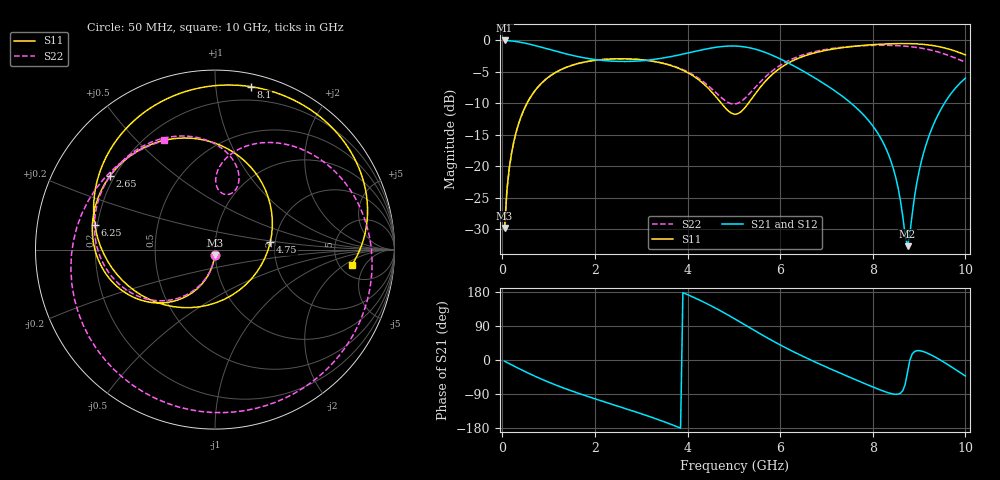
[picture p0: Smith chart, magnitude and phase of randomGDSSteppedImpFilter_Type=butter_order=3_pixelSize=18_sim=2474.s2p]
! freq	dB(S11)	phase(S11)	dB(S12)	phase(S12)
!  dB(S21)	phase(S21)	dB(S22)	phase(S22)
!S-par simulation data
#  GHz  S  DB  R 50
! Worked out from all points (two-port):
!   200 points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, 50 MHz to 10 GHz, reference 50 ohm
!   highest |S21| = -0.01 dB at 50 MHz (marker M1); lowest = -32.6 dB at 8.75 GHz (marker M2)
!   |S21| within 3 dB of the highest: start of sweep to 1.977 GHz; 3.28 GHz to 6.022 GHz (2.742 GHz wide, 59 % of centre)
!   lowest |S11| = -29.8 dB at 50 MHz (marker M3), VSWR 1.07, Z = 49.7 - j3.23 ohm
!   |S11| at or under -10 dB: start of sweep to 532.8 MHz; 4.732 GHz to 5.311 GHz (579.7 MHz wide, 11.5 % of centre)
!   |S22| runs from -29.8 to -0.8 dB; largest |S21 - S12| = 0
!   S11 on the Smith chart (normalised r, x): 50 MHz: 0.99, -0.06; 2.65 GHz: 0.18, +0.31; 4.75 GHz: 1.88, +0.17; 6.25 GHz: 0.19, +0.10; 8.1 GHz: 0.09, +1.24; 10 GHz: 6.46, -2.69
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0.05  -29.75 -93.2  -0.01 -3.2  -0.01 -3.2  -29.76 -93.4
0.1  -23.78 -96.5  -0.03 -6.4  -0.03 -6.4  -23.78 -96.8
0.2  -17.89 -102.9  -0.09 -12.8  -0.09 -12.8  -17.89 -103.5
0.5  -10.47 -120.9  -0.45 -31.1  -0.45 -31.1  -10.47 -122.4
1.05  -5.55 -149.9  -1.50 -60.9  -1.50 -60.9  -5.56 -153.0
1.75  -3.48 179.6  -2.74 -92.3  -2.74 -92.3  -3.48 174.7
2.65  -2.92 144.8  -3.34 -127.9  -3.34 -127.9  -2.92 138.7
3.4  -3.52 113.1  -2.88 -158.7  -2.88 -158.7  -3.49 109.3
4.05  -5.30 77.0  -1.93 169.8  -1.93 169.8  -5.16 84.1
4.75  -10.16 7.5  -0.97 127.3  -0.97 127.3  -9.20 71.4
5.05  -11.70 -49.0  -0.90 106.4  -0.90 106.4  -10.06 81.7
5.55  -7.63 -132.1  -1.58 70.4  -1.58 70.4  -6.75 87.0
6.25  -3.30 168.4  -3.87 24.1  -3.87 24.1  -2.98 55.5
6.7  -2.07 142.0  -5.75 -2.2  -5.75 -2.2  -1.86 30.0
7.4  -1.10 108.1  -9.19 -40.1  -9.19 -40.1  -1.04 -11.7
8.1  -0.63 77.6  -14.63 -76.1  -14.63 -76.1  -0.78 -57.4
8.35  -0.55 66.8  -18.30 -87.0  -18.30 -87.0  -0.79 -75.5
8.75  -0.51 49.3  -32.65 -32.7  -32.65 -32.7  -0.95 -107.6
9.05  -0.61 35.8  -19.17 23.6  -19.17 23.6  -1.23 -135.1
9.4  -0.95 19.7  -11.94 4.2  -11.94 4.2  -1.82 -171.8
9.65  -1.40 8.3  -8.84 -14.4  -8.84 -14.4  -2.42 158.9
10  -2.30 -6.4  -6.00 -42.3  -6.00 -42.3  -3.47 114.8
